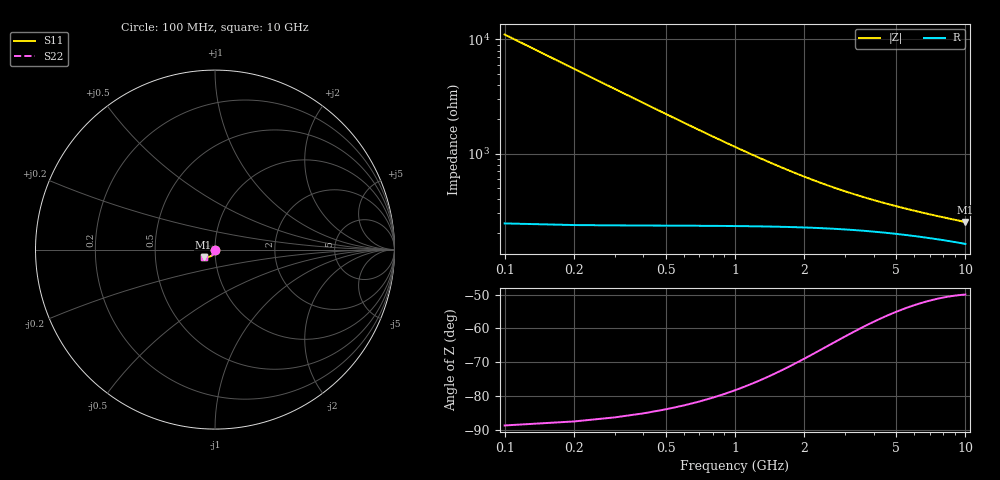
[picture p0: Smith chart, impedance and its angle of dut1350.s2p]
! Touchstone file exported from HFSS 2024.1.0
!  File:  C:/UserFiles/LocalFiles/RDL_TSV_Batchsim/temp_TSV1_1350_1780377269.aedt
!  Generated:  01:18:38 PM Jun  2, 2026
!  Design:  TSV1
!  Project:  temp_TSV1_1350_1780377269
!  Setup:  Setup1
!  Solution:  Sweep
! Variables:
!  dtsv = 14.95um
!  hbump = 3um
!  htsv = 78.93um
!  lrdl = 252.1521522um
!  p = 40
!  p1 = 41.4um
!  t = 500um
!  trdl = 3um
!  wrdl = 24.89489489um
# GHz S MA R 50.000000
! Terminal data exported
! Port[1] = TSV22_T1
! Port[2] = TSV22_T2
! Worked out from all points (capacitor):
!   100 points, 100 MHz to 10 GHz, reference 50 ohm
!   read as one part in shunt: C = 144 fF near 100 MHz
!   lowest |Z| = 252 ohm at 10 GHz (marker M1)
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0.1  0.001971 -89.0  0.9999 -0.1  0.9999 -0.1  0.001971 -89.0
! Gamma 0 0 0 0
! Port Impedance 50 0 50 0
0.2  0.003936 -91.7  0.9997 -0.3  0.9997 -0.3  0.003936 -91.7
0.3  0.005892 -93.6  0.9994 -0.4  0.9994 -0.4  0.005892 -93.6
0.4  0.007835 -95.3  0.9991 -0.6  0.9991 -0.6  0.007835 -95.3
0.5  0.00976 -96.9  0.9986 -0.7  0.9986 -0.7  0.00976 -96.9
0.6  0.01166 -98.4  0.9981 -0.9  0.9981 -0.9  0.01166 -98.4
0.7  0.01354 -99.8  0.9975 -1.0  0.9975 -1.0  0.01354 -99.8
0.8  0.01539 -101.3  0.9968 -1.1  0.9968 -1.1  0.01539 -101.3
0.9  0.0172 -102.7  0.996 -1.3  0.996 -1.3  0.0172 -102.7
1.1  0.02072 -105.3  0.9943 -1.5  0.9943 -1.5  0.02072 -105.3
1.4  0.02569 -109.1  0.9914 -1.8  0.9914 -1.8  0.02569 -109.1
1.6  0.02877 -111.5  0.9893 -2.0  0.9893 -2.0  0.02877 -111.5
1.8  0.03167 -113.7  0.9872 -2.2  0.9872 -2.2  0.03167 -113.7
2.1  0.03569 -116.7  0.9839 -2.5  0.9839 -2.5  0.03569 -116.7
2.5  0.04044 -120.4  0.9797 -2.8  0.9797 -2.8  0.04044 -120.4
2.9  0.04458 -123.6  0.9757 -3.0  0.9757 -3.0  0.04458 -123.6
3.4  0.04904 -127.0  0.971 -3.3  0.971 -3.3  0.04904 -127.0
4.2  0.05486 -131.4  0.9644 -3.7  0.9644 -3.7  0.05486 -131.4
5.1  0.06007 -135.1  0.9582 -4.0  0.9582 -4.0  0.06007 -135.1
6.7  0.06711 -139.8  0.9495 -4.5  0.9495 -4.5  0.06711 -139.8
8.4  0.07266 -143.3  0.9428 -5.1  0.9428 -5.1  0.07266 -143.3
10  0.07668 -145.8  0.938 -5.5  0.938 -5.5  0.07668 -145.8
